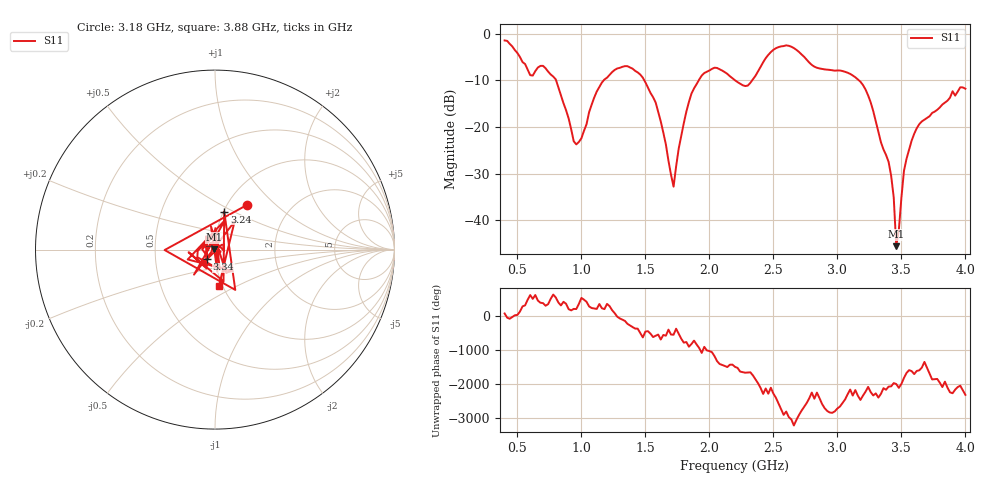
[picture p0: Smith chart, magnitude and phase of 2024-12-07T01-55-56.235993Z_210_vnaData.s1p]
!Created with skrf (http://scikit-rf.org).
# Hz S RI R 50.0
!freq ReS11 ImS11
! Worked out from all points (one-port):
!   181 points, 400 MHz to 4 GHz, reference 50 ohm
!   lowest |S11| = -45.6 dB at 3.46 GHz (marker M1), VSWR 1.01, Z = 49.5 + j0.18 ohm
!   |S11| at or under -10 dB: 802.1 MHz to 1.175 GHz (372.9 MHz wide, 37.7 % of centre); 1.491 GHz to 1.917 GHz (426.2 MHz wide, 25 % of centre); 3.167 GHz to end of sweep (the widest 3 of 4)
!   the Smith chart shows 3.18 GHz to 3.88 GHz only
!   S11 on the Smith chart (normalised r, x): 3.18 GHz: 1.23, +0.67; 3.24 GHz: 1.01, +0.45; 3.34 GHz: 0.91, -0.10; 3.88 GHz: 0.96, -0.41
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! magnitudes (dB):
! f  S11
! 400 MHz  -1.5
! 600 MHz  -8.9
! 720 MHz  -7.4
! 860 MHz  -14.9
! 960 MHz  -23.8
! 1.14 GHz  -11.4
! 1.3 GHz  -7.3
! 1.46 GHz  -8.8
! 1.58 GHz  -14.8
! 1.72 GHz  -32.8
! 1.76 GHz  -24.7
! 1.86 GHz  -12.8
! 1.94 GHz  -9.0
! 2.2 GHz  -10.0
! 2.3 GHz  -11.1
! 2.66 GHz  -3.1
! 3.1 GHz  -8.6
! 3.18 GHz  -10.3
! 3.24 GHz  -13.3
! 3.34 GHz  -23.3
! 3.42 GHz  -30.5
! 3.44 GHz  -35.1
! 3.46 GHz  -45.6
! 3.52 GHz  -29.4
! 3.56 GHz  -24.9
! 3.64 GHz  -19.4
! 3.88 GHz  -13.7
! 4 GHz  -11.8
